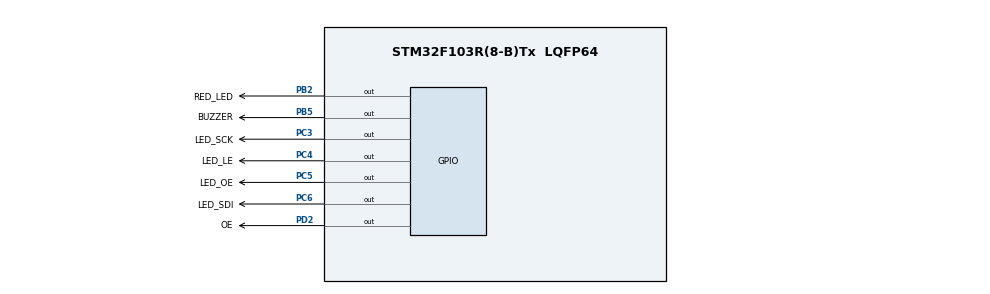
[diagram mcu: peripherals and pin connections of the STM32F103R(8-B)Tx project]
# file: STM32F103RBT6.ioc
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Mcu.Family=STM32F1
Mcu.Name=STM32F103R(8-B)Tx
Mcu.Package=LQFP64
NVIC.PriorityGroup=NVIC_PRIORITYGROUP_4
NVIC.TIM2_IRQn=true\:0\:0\:false\:false\:true\:true\:true\:true
PA13.Mode=Serial_Wire
PA13.Signal=SYS_JTMS-SWDIO
PA14.Mode=Serial_Wire
PA14.Signal=SYS_JTCK-SWCLK
PB10.Signal=USART3_TX
PB11.Signal=USART3_RX
PB2.GPIO_Label=RED_LED
PB2.Signal=GPIO_Output
PB5.GPIO_Label=BUZZER
PB5.Signal=GPIO_Output
PC3.GPIO_Label=LED_SCK
PC3.Signal=GPIO_Output
PC4.GPIO_Label=LED_LE
PC4.Signal=GPIO_Output
PC5.GPIO_Label=LED_OE
PC5.Signal=GPIO_Output
PC6.GPIO_Label=LED_SDI
PC6.Signal=GPIO_Output
PD2.GPIO_Label=OE
PD2.Signal=GPIO_Output
ProjectManager.HeapSize=0x200
ProjectManager.StackSize=0x400
ProjectManager.TargetToolchain=STM32CubeIDE
RCC.APB1Freq_Value=8000000
RCC.APB2Freq_Value=8000000
TIM2.Period=7
TIM2.Prescaler=9999
VP_TIM2_VS_ClockSourceINT.Mode=Internal
board=custom

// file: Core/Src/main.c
/* USER CODE BEGIN Header */
/**
  ******************************************************************************
  * @file           : main.c
  * @brief          : Main program body
  ******************************************************************************
  * @attention
  *
  * <h2><center>&copy; Copyright (c) 2022 STMicroelectronics.
  * All rights reserved.</center></h2>
  *
  * This software component is licensed by ST under BSD 3-Clause license,
  * the "License"; You may not use this file except in compliance with the
  * License. You may obtain a copy of the License at:
  *                        opensource.org/licenses/BSD-3-Clause
  *
  ******************************************************************************
  */
/* USER CODE END Header */
#include "main.h"

/* USER CODE BEGIN PD */
/*#define LED_SDI							GPIO_PIN_6
#define LED_SDI_PORT					GPIOC
#define LED_SCK							GPIO_PIN_3
#define LED_SCK_PORT					GPIOC
#define LED_LE							GPIO_PIN_4
#define LED_LE_PORT						GPIOC
#define LED_OE							GPIO_PIN_5
#define LED_OE_PORT						GPIOC

#define PD2_RELAY_ENABLE_PIN						GPIO_PIN_2
#define PD2_RELAY_ENABLE_PORT						GPIOD */
/* USER CODE END PD */

TIM_HandleTypeDef htim2;

void SystemClock_Config(void);
static void MX_GPIO_Init(void);
static void MX_TIM2_Init(void);

/* USER CODE BEGIN 0 */
/////////////////////////////////////////////////////////////////////////////////////////////////
////////////////////////// Turn on in x secs and turn off in y secs /////////////////////////////
/////////////////////////////////////////////////////////////////////////////////////////////////
static int counterBUZZ = 0; // For Buzzer
void buzzer (uint32_t on, uint32_t off){
	if (on == 0) return;
	counterBUZZ = (counterBUZZ + 1) % (off + on);
	if (counterBUZZ == 0) HAL_GPIO_WritePin(BUZZER_GPIO_Port, BUZZER_Pin, SET);
	if (counterBUZZ == on) HAL_GPIO_WritePin(BUZZER_GPIO_Port, BUZZER_Pin, RESET);
}

static int counterLED = 0;  // For LED
void ledBlink (uint32_t on, uint32_t off){
	if (on == 0) return;
	counterLED = (counterLED+1) % (on+off);
	if (counterLED == 0) HAL_GPIO_WritePin(RED_LED_GPIO_Port, RED_LED_Pin, RESET);
	if (counterLED == on) HAL_GPIO_WritePin(RED_LED_GPIO_Port, RED_LED_Pin, SET);
}
/////////////////////////////////////////////////////////////////////////////////////////////////////

//onTime = 1000/delay_time * 1/f * duty/100

///////////////////////////////////////////////////////////////////////////////////////////////
/////////////////////////////////////// Var For System Status ////////////////////////////////
//////////////////////////////////////////////////////////////////////////////////////////////
const int delay_time = 10;
const int delay_for_system_status_change = 60000/delay_time;
static int systemStatus = 0;
static int counterForSystemStatus = 0;
/////////////////////////////////////////////////////////////////////////////////////////////

void UpdateStatus (void){
	counterForSystemStatus = (counterForSystemStatus+1) % delay_for_system_status_change;
	if (counterForSystemStatus == 0)
		systemStatus = (systemStatus + 1) % 4;
}

static uint8_t counterForState0 = 0;
void buzzerStartUp (void){
	if (counterForState0 % 100 == 0) HAL_GPIO_WritePin(BUZZER_GPIO_Port, BUZZER_Pin, RESET);
	if (counterForState0 % 100 == 50) HAL_GPIO_WritePin(BUZZER_GPIO_Port, BUZZER_Pin, SET);
	if (counterForState0 < 200)	counterForState0++;
}

void buzzerProcess (void){
	switch (systemStatus){
		case 0:
			buzzerStartUp();
			break;
		case 1:
			buzzer(50,450);
			counterForState0 = 0;
			break;
		case 2:
			buzzer(50,50);
			counterForState0 = 0;
			break;
		case 3:
			buzzer(50,0);
			counterForState0 = 0;
			break;
		default:
			break;
	}
}

///////////////////////////////////////////////////////////////////////////////////
////////////////////////////////// LED PANEL /////////////////////////////////////
/////////////////////////////////////////////////////////////////////////////////
static void latchEnable (void){
	HAL_GPIO_WritePin(LED_LE_GPIO_Port, LED_LE_Pin, RESET);
}

static void latchDisable (void){
	HAL_GPIO_WritePin(LED_LE_GPIO_Port, LED_LE_Pin, SET);
}

static void outputEnable (void){
	HAL_GPIO_WritePin(LED_OE_GPIO_Port, LED_OE_Pin, SET);
}

static void outputDisable (void){
	HAL_GPIO_WritePin(LED_OE_GPIO_Port, LED_OE_Pin, RESET);
}

static void clockON (void){
	HAL_GPIO_WritePin(LED_SCK_GPIO_Port, LED_SCK_Pin, RESET);
	HAL_GPIO_WritePin(LED_SCK_GPIO_Port, LED_SCK_Pin, RESET);
	HAL_GPIO_WritePin(LED_SCK_GPIO_Port, LED_SCK_Pin, RESET);
	HAL_GPIO_WritePin(LED_SCK_GPIO_Port, LED_SCK_Pin, RESET);
	HAL_GPIO_WritePin(LED_SCK_GPIO_Port, LED_SCK_Pin, RESET);
	HAL_GPIO_WritePin(LED_SCK_GPIO_Port, LED_SCK_Pin, RESET);
	HAL_GPIO_WritePin(LED_SCK_GPIO_Port, LED_SCK_Pin, RESET);
	HAL_GPIO_WritePin(LED_SCK_GPIO_Port, LED_SCK_Pin, RESET);
	HAL_GPIO_WritePin(LED_SCK_GPIO_Port, LED_SCK_Pin, RESET);
	HAL_GPIO_WritePin(LED_SCK_GPIO_Port, LED_SCK_Pin, RESET);

}

static void clockOFF (void){
	HAL_GPIO_WritePin(LED_SCK_GPIO_Port, LED_SCK_Pin, SET);
}

static void dataOUT (GPIO_PinState state){
	HAL_GPIO_WritePin(LED_SDI_GPIO_Port, LED_SDI_Pin, state);
}

uint8_t getBitValue (uint8_t data, uint8_t index){
	data = (data >> index) && 0x01;
	return data;
}

void Led_Display_1 (void){
	uint8_t i;
	uint8_t data = 0x10;
	latchDisable();
	for(i = 0; i<8; i++){
		clockOFF();
		//dataOUT(data & 0x01);
		dataOUT(getBitValue(data, i));
		clockON();
	}
	latchEnable();
}
/* USER CODE END 0 */

int main(void)
{

  /* MCU Configuration--------------------------------------------------------*/

  /* Reset of all peripherals, Initializes the Flash interface and the Systick. */
  HAL_Init();

  /* Configure the system clock */
  SystemClock_Config();

  /* Initialize all configured peripherals */
  MX_GPIO_Init();
  MX_TIM2_Init();
  /* USER CODE BEGIN 2 */
  HAL_TIM_Base_Start_IT(&htim2);
  //buzzerStartUp();
  /* USER CODE END 2 */

  /* Infinite loop */
  /* USER CODE BEGIN WHILE */
  HAL_GPIO_WritePin(OE_GPIO_Port, OE_Pin, RESET);
  outputEnable();
  while (1)
  {
	  HAL_GPIO_TogglePin(RED_LED_GPIO_Port, RED_LED_Pin);
	Led_Display_1();
    HAL_Delay(1000);
    /* USER CODE END WHILE */

  }
}

void SystemClock_Config(void)
{
  RCC_OscInitTypeDef RCC_OscInitStruct = {0};
  RCC_ClkInitTypeDef RCC_ClkInitStruct = {0};

  /** Initializes the RCC Oscillators according to the specified parameters
  * in the RCC_OscInitTypeDef structure.
  */
  RCC_OscInitStruct.OscillatorType = RCC_OSCILLATORTYPE_HSI;
  RCC_OscInitStruct.HSIState = RCC_HSI_ON;
  RCC_OscInitStruct.HSICalibrationValue = RCC_HSICALIBRATION_DEFAULT;
  RCC_OscInitStruct.PLL.PLLState = RCC_PLL_NONE;
  if (HAL_RCC_OscConfig(&RCC_OscInitStruct) != HAL_OK)
  {
    Error_Handler();
  }

  /** Initializes the CPU, AHB and APB buses clocks
  */
  RCC_ClkInitStruct.ClockType = RCC_CLOCKTYPE_HCLK|RCC_CLOCKTYPE_SYSCLK
                              |RCC_CLOCKTYPE_PCLK1|RCC_CLOCKTYPE_PCLK2;
  RCC_ClkInitStruct.SYSCLKSource = RCC_SYSCLKSOURCE_HSI;
  RCC_ClkInitStruct.AHBCLKDivider = RCC_SYSCLK_DIV1;
  RCC_ClkInitStruct.APB1CLKDivider = RCC_HCLK_DIV1;
  RCC_ClkInitStruct.APB2CLKDivider = RCC_HCLK_DIV1;

  if (HAL_RCC_ClockConfig(&RCC_ClkInitStruct, FLASH_LATENCY_0) != HAL_OK)
  {
    Error_Handler();
  }
}

static void MX_TIM2_Init(void)
{

  TIM_ClockConfigTypeDef sClockSourceConfig = {0};
  TIM_MasterConfigTypeDef sMasterConfig = {0};

  htim2.Instance = TIM2;
  htim2.Init.Prescaler = 9999;
  htim2.Init.CounterMode = TIM_COUNTERMODE_UP;
  htim2.Init.Period = 7;
  htim2.Init.ClockDivision = TIM_CLOCKDIVISION_DIV1;
  htim2.Init.AutoReloadPreload = TIM_AUTORELOAD_PRELOAD_DISABLE;
  if (HAL_TIM_Base_Init(&htim2) != HAL_OK)
  {
    Error_Handler();
  }
  sClockSourceConfig.ClockSource = TIM_CLOCKSOURCE_INTERNAL;
  if (HAL_TIM_ConfigClockSource(&htim2, &sClockSourceConfig) != HAL_OK)
  {
    Error_Handler();
  }
  sMasterConfig.MasterOutputTrigger = TIM_TRGO_RESET;
  sMasterConfig.MasterSlaveMode = TIM_MASTERSLAVEMODE_DISABLE;
  if (HAL_TIMEx_MasterConfigSynchronization(&htim2, &sMasterConfig) != HAL_OK)
  {
    Error_Handler();
  }

}

static void MX_GPIO_Init(void)
{
  GPIO_InitTypeDef GPIO_InitStruct = {0};

  /* GPIO Ports Clock Enable */
  __HAL_RCC_GPIOC_CLK_ENABLE();
  __HAL_RCC_GPIOB_CLK_ENABLE();
  __HAL_RCC_GPIOA_CLK_ENABLE();
  __HAL_RCC_GPIOD_CLK_ENABLE();

  /*Configure GPIO pin Output Level */
  HAL_GPIO_WritePin(GPIOC, LED_SCK_Pin|LED_LE_Pin|LED_OE_Pin|LED_SDI_Pin, GPIO_PIN_RESET);

  /*Configure GPIO pin Output Level */
  HAL_GPIO_WritePin(GPIOB, RED_LED_Pin|BUZZER_Pin, GPIO_PIN_RESET);

  /*Configure GPIO pin Output Level */
  HAL_GPIO_WritePin(OE_GPIO_Port, OE_Pin, GPIO_PIN_RESET);

  /*Configure GPIO pins : LED_SCK_Pin LED_LE_Pin LED_OE_Pin LED_SDI_Pin */
  GPIO_InitStruct.Pin = LED_SCK_Pin|LED_LE_Pin|LED_OE_Pin|LED_SDI_Pin;
  GPIO_InitStruct.Mode = GPIO_MODE_OUTPUT_PP;
  GPIO_InitStruct.Pull = GPIO_NOPULL;
  GPIO_InitStruct.Speed = GPIO_SPEED_FREQ_LOW;
  HAL_GPIO_Init(GPIOC, &GPIO_InitStruct);

  /*Configure GPIO pins : RED_LED_Pin BUZZER_Pin */
  GPIO_InitStruct.Pin = RED_LED_Pin|BUZZER_Pin;
  GPIO_InitStruct.Mode = GPIO_MODE_OUTPUT_PP;
  GPIO_InitStruct.Pull = GPIO_NOPULL;
  GPIO_InitStruct.Speed = GPIO_SPEED_FREQ_LOW;
  HAL_GPIO_Init(GPIOB, &GPIO_InitStruct);

  /*Configure GPIO pin : PB10 */
  GPIO_InitStruct.Pin = GPIO_PIN_10;
  GPIO_InitStruct.Mode = GPIO_MODE_AF_PP;
  GPIO_InitStruct.Speed = GPIO_SPEED_FREQ_HIGH;
  HAL_GPIO_Init(GPIOB, &GPIO_InitStruct);

  /*Configure GPIO pin : PB11 */
  GPIO_InitStruct.Pin = GPIO_PIN_11;
  GPIO_InitStruct.Mode = GPIO_MODE_INPUT;
  GPIO_InitStruct.Pull = GPIO_NOPULL;
  HAL_GPIO_Init(GPIOB, &GPIO_InitStruct);

  /*Configure GPIO pin : OE_Pin */
  GPIO_InitStruct.Pin = OE_Pin;
  GPIO_InitStruct.Mode = GPIO_MODE_OUTPUT_PP;
  GPIO_InitStruct.Pull = GPIO_NOPULL;
  GPIO_InitStruct.Speed = GPIO_SPEED_FREQ_LOW;
  HAL_GPIO_Init(OE_GPIO_Port, &GPIO_InitStruct);

}

/* USER CODE BEGIN 4 */

// Interrupt is invoked every 10ms
void HAL_TIM_PeriodElapsedCallback ( TIM_HandleTypeDef * htim )
{

	/*ledBlink(50, 50);
	UpdateStatus();
	buzzerProcess();*/
}

/* USER CODE END 4 */

void Error_Handler(void)
{
  __disable_irq();
  while (1)
  {
  }
}
